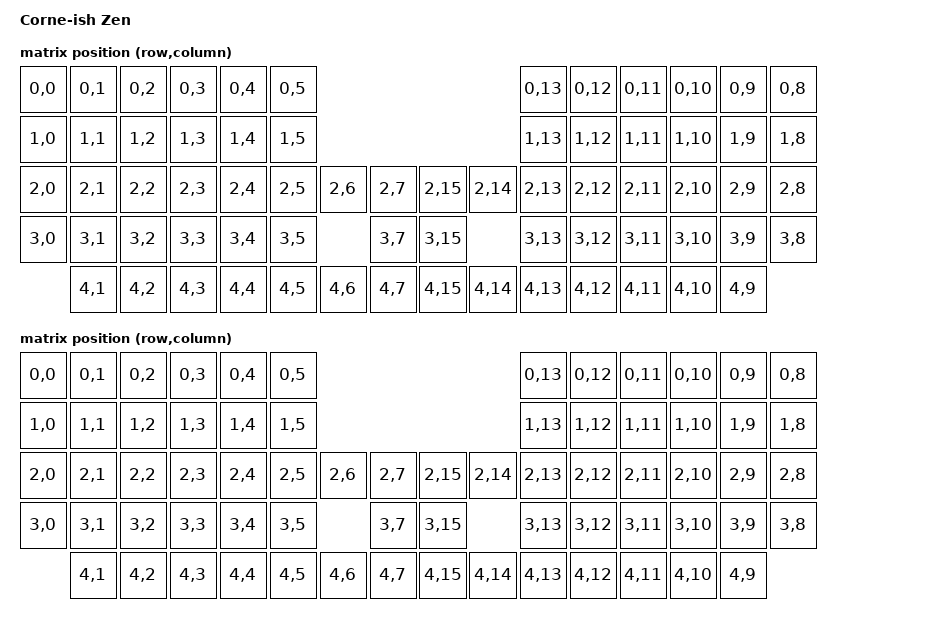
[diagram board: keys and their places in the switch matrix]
/*
*
* Copyright (c) 2021 Darryl deHaan
* SPDX-License-Identifier: MIT
*
*/

/* /dts-v1/;    */
#include <nordic/nrf52840_qiaa.dtsi>

#include <dt-bindings/zmk/matrix_transform.h>

/ {
    model = "Corne-ish Zen";
    compatible = "corneish_zen";

    chosen {
        zephyr,code-partition = &code_partition;
        zephyr,sram = &sram0;
        zephyr,flash = &flash0;
        zmk,kscan = &kscan0;
        zmk,display = &epd;
        zephyr,console = &cdc_acm_uart;
        zmk,matrix-transform = &default_transform;
    };

    default_transform: keymap_transform_0 {
        compatible = "zmk,matrix-transform";
        columns = <16>;
        rows = <5>;

            
                    map = <
RC(0,0) RC(0,1) RC(0,2) RC(0,3) RC(0,4) RC(0,5)                                             RC(0,13)  RC(0,12) RC(0,11) RC(0,10)  RC(0,9)  RC(0,8) 
RC(1,0) RC(1,1) RC(1,2) RC(1,3) RC(1,4) RC(1,5)                                             RC(1,13)  RC(1,12) RC(1,11) RC(1,10)  RC(1,9)  RC(1,8)
RC(2,0) RC(2,1) RC(2,2) RC(2,3) RC(2,4) RC(2,5) RC(2,6)  RC(2,7)          RC(2,15) RC(2,14) RC(2,13)  RC(2,12) RC(2,11) RC(2,10)  RC(2,9)  RC(2,8)
RC(3,0) RC(3,1) RC(3,2) RC(3,3) RC(3,4) RC(3,5)          RC(3,7)          RC(3,15)          RC(3,13)  RC(3,12) RC(3,11) RC(3,10)  RC(3,9)  RC(3,8)
        RC(4,1) RC(4,2) RC(4,3) RC(4,4) RC(4,5)  RC(4,6) RC(4,7)          RC(4,15) RC(4,14) RC(4,13)  RC(4,12) RC(4,11) RC(4,10)  RC(4,9)  
        >;
    };

    five_column_transform: keymap_transform_1 {
        compatible = "zmk,matrix-transform";
        columns = <16>;
        rows = <5>;

            
        map = <
RC(0,0) RC(0,1) RC(0,2) RC(0,3) RC(0,4) RC(0,5)                                             RC(0,13)  RC(0,12) RC(0,11) RC(0,10)  RC(0,9)  RC(0,8) 
RC(1,0) RC(1,1) RC(1,2) RC(1,3) RC(1,4) RC(1,5)                                             RC(1,13)  RC(1,12) RC(1,11) RC(1,10)  RC(1,9)  RC(1,8)
RC(2,0) RC(2,1) RC(2,2) RC(2,3) RC(2,4) RC(2,5) RC(2,6)  RC(2,7)          RC(2,15) RC(2,14) RC(2,13)  RC(2,12) RC(2,11) RC(2,10)  RC(2,9)  RC(2,8)
RC(3,0) RC(3,1) RC(3,2) RC(3,3) RC(3,4) RC(3,5)          RC(3,7)          RC(3,15)          RC(3,13)  RC(3,12) RC(3,11) RC(3,10)  RC(3,9)  RC(3,8)
        RC(4,1) RC(4,2) RC(4,3) RC(4,4) RC(4,5)  RC(4,6) RC(4,7)          RC(4,15) RC(4,14) RC(4,13)  RC(4,12) RC(4,11) RC(4,10)  RC(4,9) 
        >;
    };

};

&adc {
    status = "okay";
};

&gpiote {
    status = "okay";
};

&gpio0 {
    status = "okay";
};

&gpio1 {
    status = "okay";
};

&usbd {
    status = "okay";
    cdc_acm_uart: cdc_acm_uart {
        compatible = "zephyr,cdc-acm-uart";
    };
};

&flash0 {
    /*
     * For more information, see:
     * http://docs.zephyrproject.org/latest/devices/dts/flash_partitions.html
     */
    partitions {
        compatible = "fixed-partitions";
        #address-cells = <1>;
        #size-cells = <1>;

        sd_partition: partition@0 {
            reg = <0x00000000 0x00026000>;
        };
        code_partition: partition@26000 {
            reg = <0x00026000 0x000c6000>;
        };

        /*
         * The flash starting at 0x000ec000 and ending at
         * 0x000f3fff is reserved for use by the application.
         */

        /*
         * Storage partition will be used by FCB/LittleFS/NVS
         * if enabled.
         */
        storage_partition: partition@ec000 {
            reg = <0x000ec000 0x00008000>;
        };

        boot_partition: partition@f4000 {
            reg = <0x000f4000 0x0000c000>;
        };
    };
};
